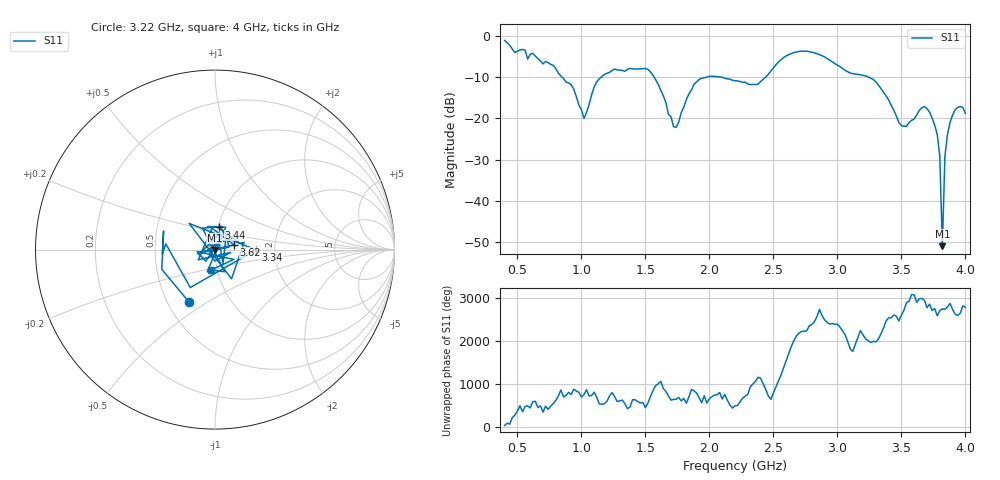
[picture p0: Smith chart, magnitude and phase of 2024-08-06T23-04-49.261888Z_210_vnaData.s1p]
!Created with skrf (http://scikit-rf.org).
# Hz S RI R 50.0
!freq ReS11 ImS11
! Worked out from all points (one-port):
!   181 points, 400 MHz to 4 GHz, reference 50 ohm
!   lowest |S11| = -51.0 dB at 3.82 GHz (marker M1), VSWR 1.01, Z = 49.8 - j0.196 ohm
!   |S11| at or under -10 dB: 1.567 GHz to 1.988 GHz (421.2 MHz wide, 23.7 % of centre); 2.082 GHz to 2.441 GHz (359.4 MHz wide, 15.9 % of centre); 3.24 GHz to end of sweep (the widest 3 of 4)
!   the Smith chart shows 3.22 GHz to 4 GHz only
!   S11 on the Smith chart (normalised r, x): 3.22 GHz: 0.64, -0.41; 3.34 GHz: 1.59, -0.00; 3.44 GHz: 1.01, +0.25; 3.62 GHz: 1.24, +0.07; 4 GHz: 0.94, -0.21
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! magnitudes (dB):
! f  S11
! 400 MHz  -1.2
! 860 MHz  -10.4
! 940 MHz  -12.9
! 1.02 GHz  -20.1
! 1.12 GHz  -11.2
! 1.3 GHz  -8.4
! 1.52 GHz  -8.2
! 1.72 GHz  -22.1
! 1.76 GHz  -21.0
! 1.92 GHz  -10.6
! 2.2 GHz  -10.9
! 2.38 GHz  -11.8
! 2.66 GHz  -4.1
! 3.1 GHz  -9.1
! 3.22 GHz  -9.8
! 3.34 GHz  -12.8
! 3.44 GHz  -18.0
! 3.5 GHz  -21.8
! 3.56 GHz  -21.0
! 3.62 GHz  -19.2
! 3.7 GHz  -17.7
! 3.78 GHz  -23.9
! 3.8 GHz  -29.2
! 3.82 GHz  -51.0
! 3.84 GHz  -29.2
! 3.86 GHz  -23.9
! 3.92 GHz  -18.0
! 4 GHz  -18.8
